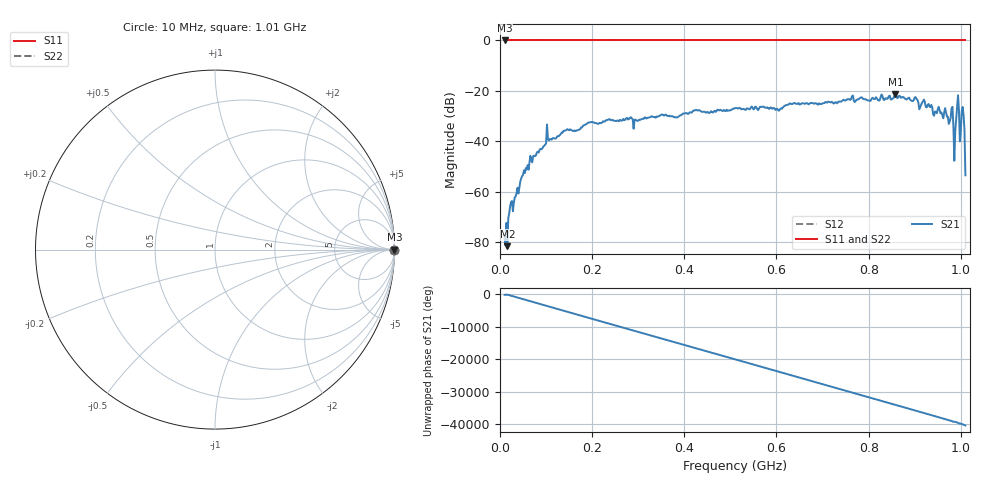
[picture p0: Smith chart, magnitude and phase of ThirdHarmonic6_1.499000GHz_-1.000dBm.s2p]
! 8/16/2025 5:36:19 PM
! C:\ANRITSUVNA\TEMP\TEMP.S2P
! CHANNEL.1
! TR.MEASUREMENT
! RAW.DATA
! RF.CORRECTION.OFF
! AVERAGING.OFF
! IF.BANDWIDTH: 5KHZ
! SWEEPTYPE:  FREQ.SWEEP(Linear)
! Reference Plane Port Info
! PORT:  PORT1  PORT2
! DISTANCE:  0  m  0  m
! TIME:  0  s  0  s
! PHASE.OFFSET:  0  deg.  0  deg.
! LOSS:  0  dB  0  dB
! REF.LOSS:  0  dB  0  dB
! REF.FREQ:  0  Hz  0  Hz
! Power Info
! POWER:  -20  dBm  -20  dBm
! EFF.POWER:  -20  dBm  -20  dBm
! SOURCE.ATTEN:  0  dB  0  dB
! TEST.ATTEN:  0  dB  0  dB
# GHZ S RI R 50.0
! FREQ.GHZ  S11RE  S11IM  S21RE  S21IM  S12RE  S12IM  S22RE  S22IM
!; PortSelection: Port_12
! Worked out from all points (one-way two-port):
!   501 points, 10 MHz to 1.01 GHz, reference 50 ohm
!   highest |S21| = -21.27 dB at 858 MHz (marker M1); lowest = -81.5 dB at 16 MHz (marker M2)
!   lowest |S11| = 0.0 dB at 10 MHz (marker M3)
!   |S11| at or under -10 dB: nowhere
!   |S22| runs from 0.0 to 0.0 dB; largest |S21 - S12| = 1.1
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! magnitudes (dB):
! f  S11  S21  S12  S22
! 10 MHz  0.0  -78.5  0.0  0.0
! 16 MHz  0.0  -81.5  0.0  0.0
! 22 MHz  0.0  -65.7  0.0  0.0
! 32 MHz  0.0  -62.2  0.0  0.0
! 48 MHz  0.0  -53.8  0.0  0.0
! 70 MHz  0.0  -48.3  0.0  0.0
! 106 MHz  0.0  -39.6  0.0  0.0
! 178 MHz  0.0  -34.5  0.0  0.0
! 344 MHz  0.0  -30.1  0.0  0.0
! 510 MHz  0.0  -26.8  0.0  0.0
! 602 MHz  0.0  -27.1  0.0  0.0
! 678 MHz  0.0  -24.8  0.0  0.0
! 844 MHz  0.0  -22.0  0.0  0.0
! 858 MHz  0.0  -21.3  0.0  0.0
! 902 MHz  0.0  -22.5  0.0  0.0
! 944 MHz  0.0  -28.1  0.0  0.0
! 978 MHz  0.0  -30.7  0.0  0.0
! 986 MHz  0.0  -47.7  0.0  0.0
! 988 MHz  0.0  -36.0  0.0  0.0
! 992 MHz  0.0  -26.0  0.0  0.0
! 1.004 GHz  0.0  -26.4  0.0  0.0
! 1.01 GHz  0.0  -53.4  0.0  0.0
